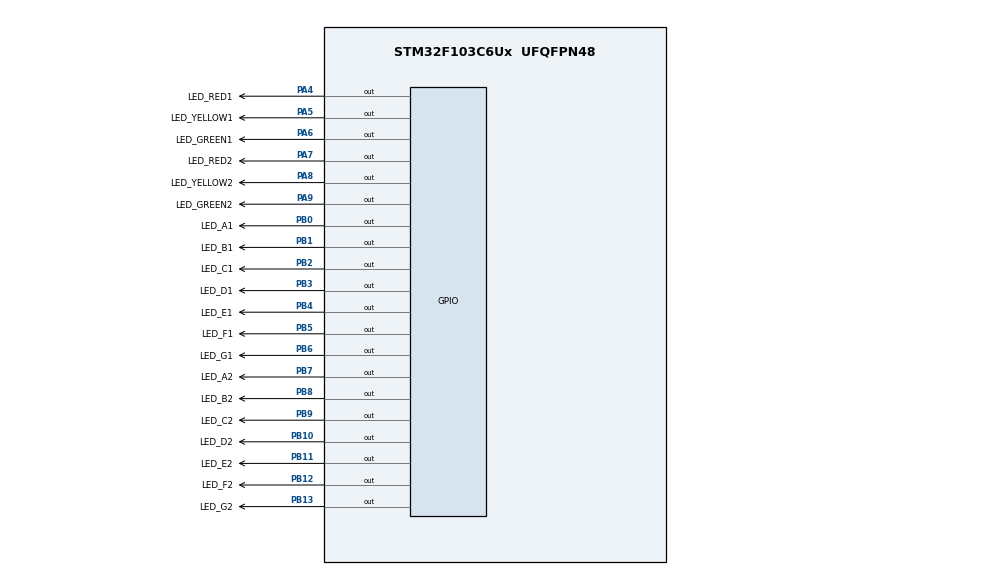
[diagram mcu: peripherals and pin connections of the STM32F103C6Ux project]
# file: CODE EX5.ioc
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Mcu.Family=STM32F1
Mcu.Name=STM32F103C6Ux
Mcu.Package=UFQFPN48
NVIC.PriorityGroup=NVIC_PRIORITYGROUP_4
PA4.GPIO_Label=LED_RED1
PA4.Signal=GPIO_Output
PA5.GPIO_Label=LED_YELLOW1
PA5.Signal=GPIO_Output
PA6.GPIO_Label=LED_GREEN1
PA6.Signal=GPIO_Output
PA7.GPIO_Label=LED_RED2
PA7.Signal=GPIO_Output
PA8.GPIO_Label=LED_YELLOW2
PA8.Signal=GPIO_Output
PA9.GPIO_Label=LED_GREEN2
PA9.Signal=GPIO_Output
PB0.GPIO_Label=LED_A1
PB0.Signal=GPIO_Output
PB1.GPIO_Label=LED_B1
PB1.Signal=GPIO_Output
PB10.GPIO_Label=LED_D2
PB10.Signal=GPIO_Output
PB11.GPIO_Label=LED_E2
PB11.Signal=GPIO_Output
PB12.GPIO_Label=LED_F2
PB12.Signal=GPIO_Output
PB13.GPIO_Label=LED_G2
PB13.Signal=GPIO_Output
PB2.GPIO_Label=LED_C1
PB2.Signal=GPIO_Output
PB3.GPIO_Label=LED_D1
PB3.Signal=GPIO_Output
PB4.GPIO_Label=LED_E1
PB4.Signal=GPIO_Output
PB5.GPIO_Label=LED_F1
PB5.Signal=GPIO_Output
PB6.GPIO_Label=LED_G1
PB6.Signal=GPIO_Output
PB7.GPIO_Label=LED_A2
PB7.Signal=GPIO_Output
PB8.GPIO_Label=LED_B2
PB8.Signal=GPIO_Output
PB9.GPIO_Label=LED_C2
PB9.Signal=GPIO_Output
ProjectManager.HeapSize=0x200
ProjectManager.StackSize=0x400
ProjectManager.TargetToolchain=STM32CubeIDE
RCC.APB1Freq_Value=8000000
RCC.APB2Freq_Value=8000000
VP_SYS_VS_ND.Mode=No_Debug
board=custom

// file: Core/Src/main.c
/* USER CODE BEGIN Header */
/**
 ******************************************************************************
 * @file           : main.c
 * @brief          : Chương trình chính - Hệ thống điều khiển đèn giao thông
 ******************************************************************************
 * @attention
 *
 * Copyright (c) 2023 STMicroelectronics.
 * All rights reserved.
 *
 * This software is licensed under terms that can be found in the LICENSE file
 * in the root directory of this software component.
 * If no LICENSE file comes with this software, it is provided AS-IS.
 *
 ******************************************************************************
 */
/* USER CODE END Header */

#include "main.h"
/* USER CODE BEGIN PD */
// LED giao thông trên PORTA
#define LED_RED1_Pin GPIO_PIN_4
#define LED_RED1_GPIO_Port GPIOA

#define LED_YELLOW1_Pin GPIO_PIN_5
#define LED_YELLOW1_GPIO_Port GPIOA

#define LED_GREEN1_Pin GPIO_PIN_6
#define LED_GREEN1_GPIO_Port GPIOA

#define LED_RED2_Pin GPIO_PIN_7
#define LED_RED2_GPIO_Port GPIOA

#define LED_YELLOW2_Pin GPIO_PIN_8
#define LED_YELLOW2_GPIO_Port GPIOA

#define LED_GREEN2_Pin GPIO_PIN_9
#define LED_GREEN2_GPIO_Port GPIOA

// LED 7 đoạn trên PORTB - Ngã 1
#define LED_A1_Pin GPIO_PIN_0
#define LED_A1_GPIO_Port GPIOB
#define LED_B1_Pin GPIO_PIN_1
#define LED_B1_GPIO_Port GPIOB
#define LED_C1_Pin GPIO_PIN_2
#define LED_C1_GPIO_Port GPIOB
#define LED_D1_Pin GPIO_PIN_3
#define LED_D1_GPIO_Port GPIOB
#define LED_E1_Pin GPIO_PIN_4
#define LED_E1_GPIO_Port GPIOB
#define LED_F1_Pin GPIO_PIN_5
#define LED_F1_GPIO_Port GPIOB
#define LED_G1_Pin GPIO_PIN_6
#define LED_G1_GPIO_Port GPIOB

// LED 7 đoạn trên PORTB - Ngã 2
#define LED_A2_Pin GPIO_PIN_7
#define LED_A2_GPIO_Port GPIOB
#define LED_B2_Pin GPIO_PIN_8
#define LED_B2_GPIO_Port GPIOB
#define LED_C2_Pin GPIO_PIN_9
#define LED_C2_GPIO_Port GPIOB
#define LED_D2_Pin GPIO_PIN_10
#define LED_D2_GPIO_Port GPIOB
#define LED_E2_Pin GPIO_PIN_11
#define LED_E2_GPIO_Port GPIOB
#define LED_F2_Pin GPIO_PIN_12
#define LED_F2_GPIO_Port GPIOB
#define LED_G2_Pin GPIO_PIN_13
#define LED_G2_GPIO_Port GPIOB
/* USER CODE END PD */

// Định nghĩa trạng thái đèn giao thông
enum State
{
  red,
  green,
  yellow
}; // đỏ, xanh lá, vàng

// Biến đếm thời gian cho mỗi ngã tư
int numDisplay1 = 4; // Thời gian đếm ngược cho ngã tư 1 (Đặt thời gian bắt đầu với đèn đỏ 4 giây)
int numDisplay2 = 2; // Thời gian đếm ngược cho ngã tư 2 (Đặt thời gian bắt đầu với đèn xanh 1 giây)

// Trạng thái hiện tại của từng ngã tư
enum State currentStateVar1 = red;   // Ngã tư 1 (bắt đầu) với đèn đỏ
enum State currentStateVar2 = green; // Ngã tư 2 (bắt đầu) với đèn xanh

void SystemClock_Config(void);
static void MX_GPIO_Init(void);

/* USER CODE BEGIN 0 */
// Hàm bật đèn theo trạng thái
void setTrafficLight(GPIO_TypeDef *RED_Port, uint16_t RED_Pin,
                     GPIO_TypeDef *YELLOW_Port, uint16_t YELLOW_Pin,
                     GPIO_TypeDef *GREEN_Port, uint16_t GREEN_Pin,
                     enum State state)
{
  if (state == red)
  {
    HAL_GPIO_WritePin(RED_Port, RED_Pin, RESET);     // BẬT đỏ
    HAL_GPIO_WritePin(YELLOW_Port, YELLOW_Pin, SET); // TẮT vàng
    HAL_GPIO_WritePin(GREEN_Port, GREEN_Pin, SET);   // TẮT xanh
  }
  else if (state == green)
  {
    HAL_GPIO_WritePin(RED_Port, RED_Pin, SET);       // TẮT đỏ
    HAL_GPIO_WritePin(YELLOW_Port, YELLOW_Pin, SET); // TẮT vàng
    HAL_GPIO_WritePin(GREEN_Port, GREEN_Pin, RESET); // BẬT xanh
  }
  else if (state == yellow)
  {
    HAL_GPIO_WritePin(RED_Port, RED_Pin, SET);         // TẮT đỏ
    HAL_GPIO_WritePin(YELLOW_Port, YELLOW_Pin, RESET); // BẬT vàng
    HAL_GPIO_WritePin(GREEN_Port, GREEN_Pin, SET);     // TẮT xanh
  }
}

/**
 * @brief Hàm hiển thị số trên LED 7 đoạn
 * @param num: Số cần hiển thị (0-9)
 * @param A,B,C,D,E,F,G: Các chân GPIO tương ứng với từng segment của LED 7 đoạn
 * @retval None
 *
 * Sơ đồ LED 7 đoạn:
 *     A
 *   -----
 *  |     |
 * F|  G  |B
 *  |-----|
 *  |     |
 * E|     |C
 *  -----
 *    D
 */
void display7SEG(int num, uint16_t A, uint16_t B, uint16_t C, uint16_t D, uint16_t E, uint16_t F, uint16_t G)
{
  if (num == 0)
  {
    // Hiển thị số 0: bật A,B,C,D,E,F - tắt G
    HAL_GPIO_WritePin(GPIOB, A, GPIO_PIN_RESET); // a - BẬT
    HAL_GPIO_WritePin(GPIOB, B, GPIO_PIN_RESET); // b - BẬT
    HAL_GPIO_WritePin(GPIOB, C, GPIO_PIN_RESET); // c - BẬT
    HAL_GPIO_WritePin(GPIOB, D, GPIO_PIN_RESET); // d - BẬT
    HAL_GPIO_WritePin(GPIOB, E, GPIO_PIN_RESET); // e - BẬT
    HAL_GPIO_WritePin(GPIOB, F, GPIO_PIN_RESET); // f - BẬT
    HAL_GPIO_WritePin(GPIOB, G, GPIO_PIN_SET);   // g - TẮT
  }
  else if (num == 1)
  {
    // Hiển thị số 1: bật B,C - tắt A,D,E,F,G
    HAL_GPIO_WritePin(GPIOB, A, GPIO_PIN_SET);   // a - TẮT
    HAL_GPIO_WritePin(GPIOB, B, GPIO_PIN_RESET); // b - BẬT
    HAL_GPIO_WritePin(GPIOB, C, GPIO_PIN_RESET); // c - BẬT
    HAL_GPIO_WritePin(GPIOB, D, GPIO_PIN_SET);   // d - TẮT
    HAL_GPIO_WritePin(GPIOB, E, GPIO_PIN_SET);   // e - TẮT
    HAL_GPIO_WritePin(GPIOB, F, GPIO_PIN_SET);   // f - TẮT
    HAL_GPIO_WritePin(GPIOB, G, GPIO_PIN_SET);   // g - TẮT
  }
  else if (num == 2)
  {
    // Hiển thị số 2: bật A,B,D,E,G - tắt C,F
    HAL_GPIO_WritePin(GPIOB, A, GPIO_PIN_RESET); // a - BẬT
    HAL_GPIO_WritePin(GPIOB, B, GPIO_PIN_RESET); // b - BẬT
    HAL_GPIO_WritePin(GPIOB, C, GPIO_PIN_SET);   // c - TẮT
    HAL_GPIO_WritePin(GPIOB, D, GPIO_PIN_RESET); // d - BẬT
    HAL_GPIO_WritePin(GPIOB, E, GPIO_PIN_RESET); // e - BẬT
    HAL_GPIO_WritePin(GPIOB, F, GPIO_PIN_SET);   // f - TẮT
    HAL_GPIO_WritePin(GPIOB, G, GPIO_PIN_RESET); // g - BẬT
  }
  else if (num == 3)
  {
    // Hiển thị số 3: bật A,B,C,D,G - tắt E,F
    HAL_GPIO_WritePin(GPIOB, A, GPIO_PIN_RESET); // a - BẬT
    HAL_GPIO_WritePin(GPIOB, B, GPIO_PIN_RESET); // b - BẬT
    HAL_GPIO_WritePin(GPIOB, C, GPIO_PIN_RESET); // c - BẬT
    HAL_GPIO_WritePin(GPIOB, D, GPIO_PIN_RESET); // d - BẬT
    HAL_GPIO_WritePin(GPIOB, E, GPIO_PIN_SET);   // e - TẮT
    HAL_GPIO_WritePin(GPIOB, F, GPIO_PIN_SET);   // f - TẮT
    HAL_GPIO_WritePin(GPIOB, G, GPIO_PIN_RESET); // g - BẬT
  }
  else if (num == 4)
  {
    // Hiển thị số 4: bật B,C,F,G - tắt A,D,E
    HAL_GPIO_WritePin(GPIOB, A, GPIO_PIN_SET);   // a - TẮT
    HAL_GPIO_WritePin(GPIOB, B, GPIO_PIN_RESET); // b - BẬT
    HAL_GPIO_WritePin(GPIOB, C, GPIO_PIN_RESET); // c - BẬT
    HAL_GPIO_WritePin(GPIOB, D, GPIO_PIN_SET);   // d - TẮT
    HAL_GPIO_WritePin(GPIOB, E, GPIO_PIN_SET);   // e - TẮT
    HAL_GPIO_WritePin(GPIOB, F, GPIO_PIN_RESET); // f - BẬT
    HAL_GPIO_WritePin(GPIOB, G, GPIO_PIN_RESET); // g - BẬT
  }
  else if (num == 5)
  {
    // Hiển thị số 5: bật A,C,D,F,G - tắt B,E
    HAL_GPIO_WritePin(GPIOB, A, GPIO_PIN_RESET); // a - BẬT
    HAL_GPIO_WritePin(GPIOB, B, GPIO_PIN_SET);   // b - TẮT
    HAL_GPIO_WritePin(GPIOB, C, GPIO_PIN_RESET); // c - BẬT
    HAL_GPIO_WritePin(GPIOB, D, GPIO_PIN_RESET); // d - BẬT
    HAL_GPIO_WritePin(GPIOB, E, GPIO_PIN_SET);   // e - TẮT
    HAL_GPIO_WritePin(GPIOB, F, GPIO_PIN_RESET); // f - BẬT
    HAL_GPIO_WritePin(GPIOB, G, GPIO_PIN_RESET); // g - BẬT
  }
  else if (num == 6)
  {
    // Hiển thị số 6: bật A,C,D,E,F,G - tắt B
    HAL_GPIO_WritePin(GPIOB, A, GPIO_PIN_RESET); // a - BẬT
    HAL_GPIO_WritePin(GPIOB, B, GPIO_PIN_SET);   // b - TẮT
    HAL_GPIO_WritePin(GPIOB, C, GPIO_PIN_RESET); // c - BẬT
    HAL_GPIO_WritePin(GPIOB, D, GPIO_PIN_RESET); // d - BẬT
    HAL_GPIO_WritePin(GPIOB, E, GPIO_PIN_RESET); // e - BẬT
    HAL_GPIO_WritePin(GPIOB, F, GPIO_PIN_RESET); // f - BẬT
    HAL_GPIO_WritePin(GPIOB, G, GPIO_PIN_RESET); // g - BẬT
  }
  else if (num == 7)
  {
    // Hiển thị số 7: bật A,B,C - tắt D,E,F,G
    HAL_GPIO_WritePin(GPIOB, A, GPIO_PIN_RESET); // a - BẬT
    HAL_GPIO_WritePin(GPIOB, B, GPIO_PIN_RESET); // b - BẬT
    HAL_GPIO_WritePin(GPIOB, C, GPIO_PIN_RESET); // c - BẬT
    HAL_GPIO_WritePin(GPIOB, D, GPIO_PIN_SET);   // d - TẮT
    HAL_GPIO_WritePin(GPIOB, E, GPIO_PIN_SET);   // e - TẮT
    HAL_GPIO_WritePin(GPIOB, F, GPIO_PIN_SET);   // f - TẮT
    HAL_GPIO_WritePin(GPIOB, G, GPIO_PIN_SET);   // g - TẮT
  }
  else if (num == 8)
  {
    // Hiển thị số 8: bật tất cả A,B,C,D,E,F,G
    HAL_GPIO_WritePin(GPIOB, A, GPIO_PIN_RESET); // a - BẬT
    HAL_GPIO_WritePin(GPIOB, B, GPIO_PIN_RESET); // b - BẬT
    HAL_GPIO_WritePin(GPIOB, C, GPIO_PIN_RESET); // c - BẬT
    HAL_GPIO_WritePin(GPIOB, D, GPIO_PIN_RESET); // d - BẬT
    HAL_GPIO_WritePin(GPIOB, E, GPIO_PIN_RESET); // e - BẬT
    HAL_GPIO_WritePin(GPIOB, F, GPIO_PIN_RESET); // f - BẬT
    HAL_GPIO_WritePin(GPIOB, G, GPIO_PIN_RESET); // g - BẬT
  }
  else if (num == 9)
  {
    // Hiển thị số 9: bật A,B,C,D,F,G - tắt E
    HAL_GPIO_WritePin(GPIOB, A, GPIO_PIN_RESET); // a - BẬT
    HAL_GPIO_WritePin(GPIOB, B, GPIO_PIN_RESET); // b - BẬT
    HAL_GPIO_WritePin(GPIOB, C, GPIO_PIN_RESET); // c - BẬT
    HAL_GPIO_WritePin(GPIOB, D, GPIO_PIN_RESET); // d - BẬT
    HAL_GPIO_WritePin(GPIOB, E, GPIO_PIN_SET);   // e - TẮT
    HAL_GPIO_WritePin(GPIOB, F, GPIO_PIN_RESET); // f - BẬT
    HAL_GPIO_WritePin(GPIOB, G, GPIO_PIN_RESET); // g - BẬT
  }
}

/**
 * @brief  Điểm bắt đầu của ứng dụng
 * @retval int
 */
int main(void)
{
  /* Khởi động lại tất cả các thiết bị ngoại vi, khởi tạo giao diện Flash và Systick. */
  HAL_Init();

  /* Cấu hình đồng hồ hệ thống */
  SystemClock_Config();

  /* Khởi tạo tất cả các thiết bị ngoại vi đã cấu hình */
  MX_GPIO_Init();

  while (1)
  {

    //-------------------HIỂN THỊ SỐ TRÊN LED 7 ĐOẠN------------------------//
    // Hiển thị số đếm ngược trên LED 7 đoạn của ngã tư 1
    display7SEG(numDisplay1, LED_A1_Pin, LED_B1_Pin, LED_C1_Pin, LED_D1_Pin, LED_E1_Pin, LED_F1_Pin, LED_G1_Pin);
    // Hiển thị số đếm ngược trên LED 7 đoạn của ngã tư 2
    display7SEG(numDisplay2, LED_A2_Pin, LED_B2_Pin, LED_C2_Pin, LED_D2_Pin, LED_E2_Pin, LED_F2_Pin, LED_G2_Pin);

    // Bật đèn theo trạng thái hiện tại
    setTrafficLight(LED_RED1_GPIO_Port, LED_RED1_Pin,
                    LED_YELLOW1_GPIO_Port, LED_YELLOW1_Pin,
                    LED_GREEN1_GPIO_Port, LED_GREEN1_Pin,
                    currentStateVar1);

    setTrafficLight(LED_RED2_GPIO_Port, LED_RED2_Pin,
                    LED_YELLOW2_GPIO_Port, LED_YELLOW2_Pin,
                    LED_GREEN2_GPIO_Port, LED_GREEN2_Pin,
                    currentStateVar2);
    HAL_Delay(1000); // Delay 1 giây

    //-------------------ĐẾM NGƯỢC THỜI GIAN------------------------//
    // Giảm thời gian đếm ngược của cả 2 ngã tư
    --numDisplay1;
    --numDisplay2;

    // CHUYỂN TRẠNG THÁI ĐÈN Ở NGÃ 1 HƯỚNG ĐÔNG TÂY
    // Nếu hết thời gian đèn đỏ -> chuyển sang xanh lá (3 giây)
    if (numDisplay1 < 0)
    {
      if (currentStateVar1 == red)
      {
        currentStateVar1 = green;
        numDisplay1 = 2; // Xanh 3s
      }
      // Nếu hết thời gian đèn xanh lá -> chuyển sang vàng (2 giây)
      else if (currentStateVar1 == green)
      {
        currentStateVar1 = yellow;
        numDisplay1 = 1; // Vàng 2s
      }
      // Nếu hết thời gian đèn vàng -> chuyển sang đỏ (4 giây)
      else
      { // yellow -> red
        currentStateVar1 = red;
        numDisplay1 = 4; // Đỏ 4s
      }
    }

    // CHUYỂN TRẠNG THÁI ĐÈN Ở NGÃ 2 HƯỚNG BẮC NAM
    // Nếu hết thời gian đèn đỏ -> chuyển sang xanh lá (3 giây)
    if (numDisplay2 < 0)
    {
      if (currentStateVar2 == red)
      {
        currentStateVar2 = green;
        numDisplay2 = 2; // Xanh 3s
      }
      // Nếu hết thời gian đèn xanh lá -> chuyển sang vàng (2 giây)
      else if (currentStateVar2 == green)
      {
        currentStateVar2 = yellow;
        numDisplay2 = 1; // Vàng 2s
      }
      // Nếu hết thời gian đèn vàng -> chuyển sang đỏ (4 giây)
      else
      { // yellow -> red
        currentStateVar2 = red;
        numDisplay2 = 4; // Đỏ 4s
      }
    }
  }
}

/**
 * @brief Cấu hình đồng hồ hệ thống
 * @retval None
 */
void SystemClock_Config(void)
{
  RCC_OscInitTypeDef RCC_OscInitStruct = {0};
  RCC_ClkInitTypeDef RCC_ClkInitStruct = {0};

  /** Khởi tạo các bộ dao động RCC theo các tham số được chỉ định
   * trong cấu trúc RCC_OscInitTypeDef.
   */
  RCC_OscInitStruct.OscillatorType = RCC_OSCILLATORTYPE_HSI;
  RCC_OscInitStruct.HSIState = RCC_HSI_ON;
  RCC_OscInitStruct.HSICalibrationValue = RCC_HSICALIBRATION_DEFAULT;
  RCC_OscInitStruct.PLL.PLLState = RCC_PLL_NONE;
  if (HAL_RCC_OscConfig(&RCC_OscInitStruct) != HAL_OK)
  {
    Error_Handler();
  }

  /** Khởi tạo đồng hồ CPU, AHB và APB buses
   */
  RCC_ClkInitStruct.ClockType = RCC_CLOCKTYPE_HCLK | RCC_CLOCKTYPE_SYSCLK | RCC_CLOCKTYPE_PCLK1 | RCC_CLOCKTYPE_PCLK2;
  RCC_ClkInitStruct.SYSCLKSource = RCC_SYSCLKSOURCE_HSI;
  RCC_ClkInitStruct.AHBCLKDivider = RCC_SYSCLK_DIV1;
  RCC_ClkInitStruct.APB1CLKDivider = RCC_HCLK_DIV1;
  RCC_ClkInitStruct.APB2CLKDivider = RCC_HCLK_DIV1;

  if (HAL_RCC_ClockConfig(&RCC_ClkInitStruct, FLASH_LATENCY_0) != HAL_OK)
  {
    Error_Handler();
  }
}

/**
 * @brief Hàm khởi tạo GPIO
 * @param None
 * @retval None
 */
static void MX_GPIO_Init(void)
{
  GPIO_InitTypeDef GPIO_InitStruct = {0};

  /* Kích hoạt clock cho các cổng GPIO */
  __HAL_RCC_GPIOA_CLK_ENABLE();
  __HAL_RCC_GPIOB_CLK_ENABLE();

  /* Cấu hình mức đầu ra GPIO - Tất cả đèn LED bắt đầu ở trạng thái TẮT */
  HAL_GPIO_WritePin(GPIOA, LED_RED1_Pin | LED_YELLOW1_Pin | LED_GREEN1_Pin | LED_RED2_Pin | LED_YELLOW2_Pin | LED_GREEN2_Pin, GPIO_PIN_SET);

  /* Cấu hình mức đầu ra cho LED 7 đoạn - Tất cả segment bắt đầu ở trạng thái TẮT */
  HAL_GPIO_WritePin(GPIOB, LED_A1_Pin | LED_B1_Pin | LED_C1_Pin | LED_D2_Pin | LED_E2_Pin | LED_F2_Pin | LED_G2_Pin | LED_D1_Pin | LED_E1_Pin | LED_F1_Pin | LED_G1_Pin | LED_A2_Pin | LED_B2_Pin | LED_C2_Pin, GPIO_PIN_SET);

  /* Cấu hình các chân GPIO cho đèn LED giao thông */
  GPIO_InitStruct.Pin = LED_RED1_Pin | LED_YELLOW1_Pin | LED_GREEN1_Pin | LED_RED2_Pin | LED_YELLOW2_Pin | LED_GREEN2_Pin;
  GPIO_InitStruct.Mode = GPIO_MODE_OUTPUT_PP;  // Chế độ đầu ra push-pull
  GPIO_InitStruct.Pull = GPIO_NOPULL;          // Không có pull-up/pull-down
  GPIO_InitStruct.Speed = GPIO_SPEED_FREQ_LOW; // Tốc độ thấp
  HAL_GPIO_Init(GPIOA, &GPIO_InitStruct);

  /* Cấu hình các chân GPIO cho LED 7 đoạn */
  GPIO_InitStruct.Pin = LED_A1_Pin | LED_B1_Pin | LED_C1_Pin | LED_D2_Pin | LED_E2_Pin | LED_F2_Pin | LED_G2_Pin | LED_D1_Pin | LED_E1_Pin | LED_F1_Pin | LED_G1_Pin | LED_A2_Pin | LED_B2_Pin | LED_C2_Pin;
  GPIO_InitStruct.Mode = GPIO_MODE_OUTPUT_PP;  // Chế độ đầu ra push-pull
  GPIO_InitStruct.Pull = GPIO_NOPULL;          // Không có pull-up/pull-down
  GPIO_InitStruct.Speed = GPIO_SPEED_FREQ_LOW; // Tốc độ thấp
  HAL_GPIO_Init(GPIOB, &GPIO_InitStruct);
}

/**
 * @brief  Hàm này được thực thi khi có lỗi xảy ra.
 * @retval None
 */
void Error_Handler(void)
{
  __disable_irq(); // Tắt ngắt
  while (1)
  {
    // Vòng lặp vô tận khi có lỗi
  }
  /* USER CODE END Error_Handler_Debug */
}
